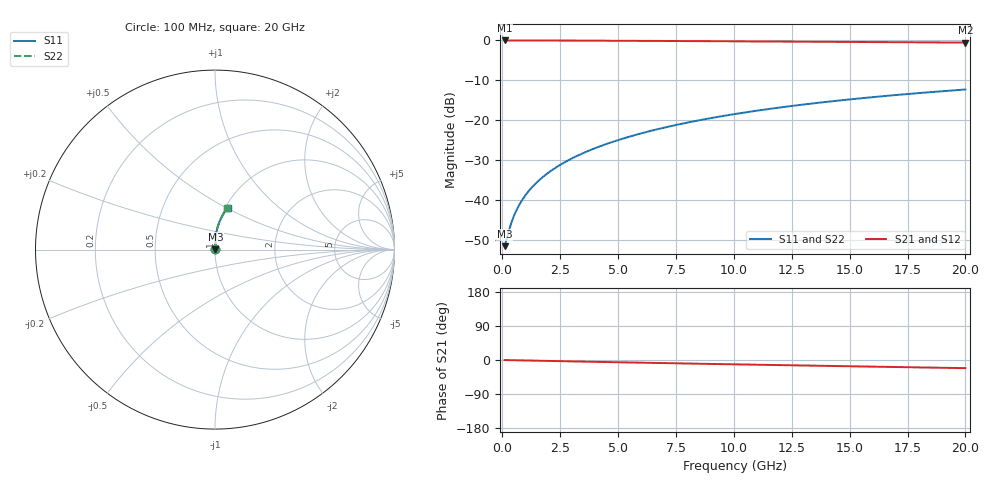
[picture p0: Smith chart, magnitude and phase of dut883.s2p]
! Touchstone file exported from HFSS 2024.1.0
!  File:  C:/UserFiles/LocalFiles/RDL_TSV_Batchsim/temp_RDL_top_883_1779856889.aedt
!  Generated:  12:43:50 PM May 27, 2026
!  Design:  RDL_top
!  Project:  temp_RDL_top_883_1779856889
!  Setup:  Setup1
!  Solution:  Sweep
! Variables:
!  dtsv = 10.80580581um
!  hbump = 3um
!  htsv = 86.5um
!  ldown = 100um
!  lrdl = 247.26um
!  p = 40
!  p1 = 54.16um
!  rhole = 1um
!  t = 450um
!  tdown = 3.915915916um
!  trdl = 2.01um
!  wdown = 15.38538539um
!  wrdl = 22.74um
# GHz S MA R 50.000000
! Terminal data exported
! Port[1] = Box2_T1
! Port[2] = Box2_T2
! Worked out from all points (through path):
!   200 points, 100 MHz to 20 GHz, reference 50 ohm
!   highest |S21| = -0.02 dB at 100 MHz (marker M1); lowest = -0.6 dB at 20 GHz (marker M2)
!   group delay of S21, straight-line fit = 2.96 ps
!   lowest |S11| = -51.7 dB at 100 MHz (marker M3), VSWR 1.01, Z = 50.2 + j0.118 ohm
!   |S11| at or under -10 dB: start of sweep to end of sweep
!   |S22| runs from -51.7 to -12.3 dB; largest |S21 - S12| = 2.7e-15
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0.1  0.002608 26.7  0.9977 -0.1  0.9977 -0.1  0.002608 26.7
! Gamma 0 0 0 0
! Port Impedance 50 0 50 0
0.3  0.004234 55.0  0.9975 -0.4  0.9975 -0.4  0.004234 55.0
0.4  0.005217 61.4  0.9974 -0.5  0.9974 -0.5  0.005217 61.4
0.5  0.006228 65.7  0.9973 -0.6  0.9973 -0.6  0.006228 65.7
0.6  0.007248 68.9  0.9972 -0.8  0.9972 -0.8  0.007248 68.9
0.7  0.008273 71.2  0.9971 -0.9  0.9971 -0.9  0.008273 71.2
0.9  0.01033 74.6  0.9969 -1.1  0.9969 -1.1  0.01033 74.7
1.2  0.01345 78.0  0.9966 -1.5  0.9966 -1.5  0.01345 78.0
1.4  0.01554 79.6  0.9964 -1.7  0.9964 -1.7  0.01554 79.6
1.7  0.01872 81.3  0.996 -2.1  0.996 -2.1  0.01872 81.3
2.2  0.0241 83.3  0.9953 -2.7  0.9953 -2.7  0.0241 83.3
2.8  0.03067 84.8  0.9942 -3.4  0.9942 -3.4  0.03067 84.8
3.5  0.03852 85.8  0.9928 -4.2  0.9928 -4.2  0.03853 85.8
4.2  0.04656 86.4  0.9912 -5.1  0.9912 -5.1  0.04656 86.4
5  0.05597 86.7  0.9891 -6.0  0.9891 -6.0  0.05598 86.7
5.9  0.06682 86.6  0.9866 -7.0  0.9866 -7.0  0.06682 86.6
6.8  0.07789 86.3  0.9839 -8.0  0.9839 -8.0  0.07789 86.3
8.4  0.09798 85.3  0.9789 -9.7  0.9789 -9.7  0.09798 85.3
10.1  0.1196 83.9  0.9733 -11.6  0.9733 -11.6  0.1196 83.9
13.4  0.1615 80.5  0.9621 -15.0  0.9621 -15.0  0.1615 80.5
16.7  0.2024 76.9  0.9505 -18.3  0.9505 -18.3  0.2024 76.9
20  0.2417 73.2  0.9383 -21.5  0.9383 -21.5  0.2417 73.3
